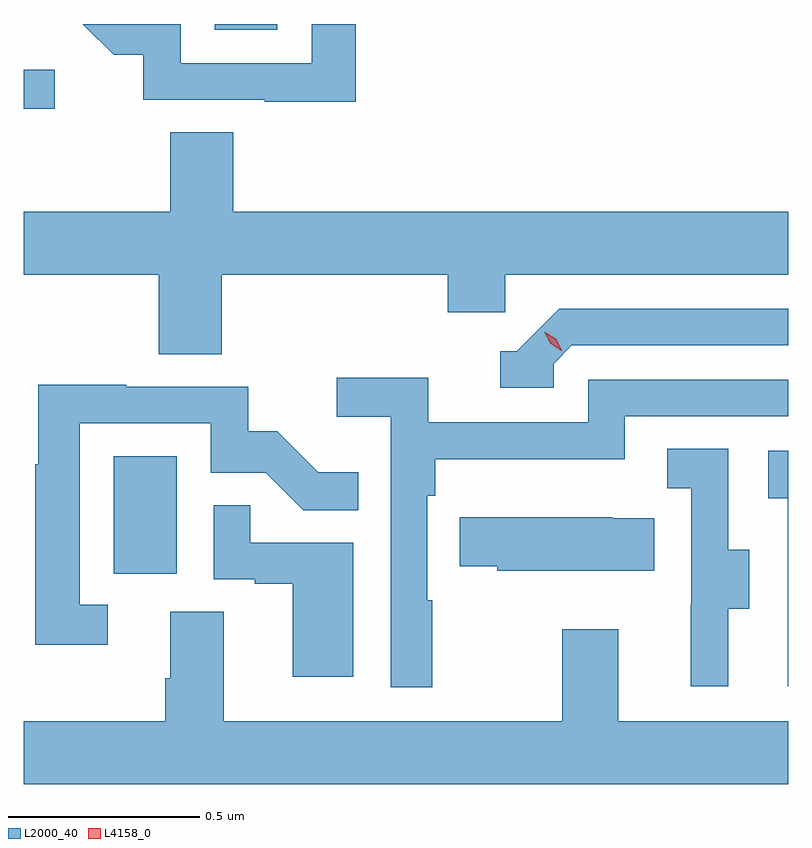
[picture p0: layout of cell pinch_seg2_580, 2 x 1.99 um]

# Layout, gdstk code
import gdstk
lib = gdstk.Library(unit=1e-6, precision=1e-09)
def R(c, l, rs):  # rectangles x0, y0, x1, y1
    for r in rs: c.add(gdstk.rectangle(r[:2], r[2:], *l))
def P(c, l, *ps):  # polygons
    for p in ps: c.add(gdstk.Polygon(p, *l))
L2000_40 = (2000, 40)
L4158_0 = (4158, 0)

pinch_seg2_580 = lib.new_cell('pinch_seg2_580')
R(pinch_seg2_580, L2000_40, [(1129.91,617.55,1130.074,617.857), (1129.674,618.766,1129.756,618.868), (1130.174,618.972,1130.338,618.987)])
P(pinch_seg2_580, L2000_40, [(1130.543,618.987),(1130.427,618.987),(1130.427,618.885),(1130.085,618.885),(1130.085,618.987),(1129.829,618.987),(1129.91,618.906),(1129.987,618.906),(1129.987,618.789),(1130.305,618.789),(1130.305,618.784),(1130.543,618.784)],
  [(1130.192,618.332),(1130.783,618.332),(1130.783,618.234),(1130.934,618.234),(1130.934,618.332),(1131.674,618.332),(1131.674,618.496),(1130.222,618.496),(1130.222,618.704),(1130.057,618.704),(1130.057,618.496),(1129.674,618.496),(1129.674,618.332),(1130.027,618.332),(1130.027,618.124),(1130.192,618.124)],
  [(1131.06,618.099),(1131.108,618.147),(1131.674,618.147),(1131.674,618.243),(1131.075,618.243),(1130.964,618.132),(1130.921,618.132),(1130.921,618.036),(1131.06,618.036)],
  [(1130.743,617.48),(1130.73,617.48),(1130.73,617.753),(1130.75,617.753),(1130.75,617.849),(1131.246,617.849),(1131.246,617.961),(1131.674,617.961),(1131.674,618.057),(1131.15,618.057),(1131.15,617.946),(1130.732,617.946),(1130.732,618.062),(1130.493,618.062),(1130.493,617.96),(1130.634,617.96),(1130.634,617.253),(1130.743,617.253)],
  [(1129.894,617.469),(1129.821,617.469),(1129.821,617.943),(1130.163,617.943),(1130.163,617.814),(1130.307,617.814),(1130.405,617.716),(1130.549,617.716),(1130.549,617.815),(1130.445,617.815),(1130.338,617.922),(1130.262,617.922),(1130.262,618.039),(1129.943,618.039),(1129.943,618.044),(1129.713,618.044),(1129.713,617.836),(1129.705,617.836),(1129.705,617.364),(1129.894,617.364)],
  [(1131.517,617.458),(1131.571,617.458),(1131.571,617.613),(1131.516,617.613),(1131.516,617.876),(1131.357,617.876),(1131.357,617.773),(1131.42,617.773),(1131.42,617.469),(1131.419,617.469),(1131.419,617.256),(1131.517,617.256)],
  [(1131.674,617.871),(1131.621,617.871),(1131.621,617.747),(1131.672,617.747),(1131.672,617.256),(1131.674,617.256)],
  [(1130.536,617.631),(1130.267,617.631),(1130.267,617.729),(1130.172,617.729),(1130.172,617.535),(1130.279,617.535),(1130.279,617.523),(1130.378,617.523),(1130.378,617.28),(1130.536,617.28)],
  [(1131.323,617.695),(1131.215,617.695),(1131.215,617.698),(1130.815,617.698),(1130.815,617.569),(1130.913,617.569),(1130.913,617.558),(1131.323,617.558)],
  [(1131.674,617.164),(1131.229,617.164),(1131.229,617.404),(1131.082,617.404),(1131.082,617.164),(1130.197,617.164),(1130.197,617.45),(1130.057,617.45),(1130.057,617.276),(1130.045,617.276),(1130.045,617.164),(1129.674,617.164),(1129.674,617),(1131.674,617)])
P(pinch_seg2_580, L4158_0, [(1131.082,618.132),(1131.052,618.151),(1131.035,618.183),(1131.035,618.183),(1131.035,618.183),(1131.066,618.164),(1131.083,618.132),(1131.083,618.132)])

lib.write_gds('pinch_seg2_580.gds')
